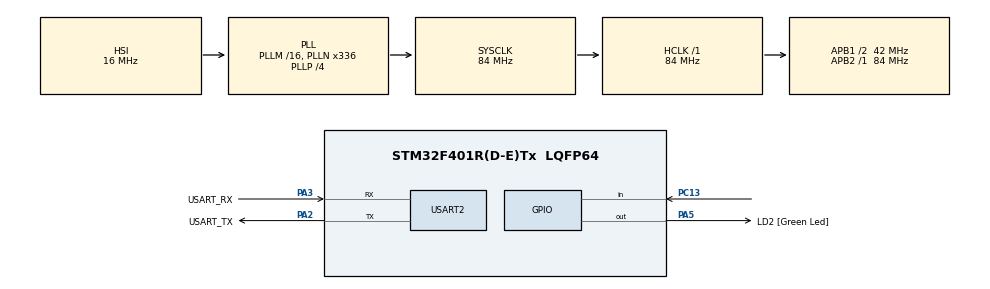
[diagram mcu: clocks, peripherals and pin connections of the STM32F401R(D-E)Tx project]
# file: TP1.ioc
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Mcu.Family=STM32F4
Mcu.Name=STM32F401R(D-E)Tx
Mcu.Package=LQFP64
NVIC.PriorityGroup=NVIC_PRIORITYGROUP_0
PA13.GPIO_Label=TMS
PA13.Mode=Serial_Wire
PA13.Signal=SYS_JTMS-SWDIO
PA14.GPIO_Label=TCK
PA14.Mode=Serial_Wire
PA14.Signal=SYS_JTCK-SWCLK
PA2.GPIO_Label=USART_TX
PA2.GPIO_Mode=GPIO_MODE_AF_PP
PA2.GPIO_PuPd=GPIO_NOPULL
PA2.GPIO_Speed=GPIO_SPEED_FREQ_LOW
PA2.Mode=Asynchronous
PA2.Signal=USART2_TX
PA3.GPIO_Label=USART_RX
PA3.GPIO_Mode=GPIO_MODE_AF_PP
PA3.GPIO_PuPd=GPIO_NOPULL
PA3.GPIO_Speed=GPIO_SPEED_FREQ_LOW
PA3.Mode=Asynchronous
PA3.Signal=USART2_RX
PA5.GPIO_Label=LD2 [Green Led]
PA5.GPIO_Mode=GPIO_MODE_OUTPUT_PP
PA5.GPIO_PuPd=GPIO_NOPULL
PA5.GPIO_Speed=GPIO_SPEED_FREQ_LOW
PA5.Signal=GPIO_Output
PB3.GPIO_Label=SWO
PB3.Signal=SYS_JTDO-SWO
PC13-ANTI_TAMP.Signal=GPIO_Input
PC14-OSC32_IN.Mode=LSE-External-Oscillator
PC14-OSC32_IN.Signal=RCC_OSC32_IN
PC15-OSC32_OUT.Mode=LSE-External-Oscillator
PC15-OSC32_OUT.Signal=RCC_OSC32_OUT
PH0\ -\ OSC_IN.Mode=HSE-External-Clock-Source
PH0\ -\ OSC_IN.Signal=RCC_OSC_IN
PH1\ -\ OSC_OUT.Mode=HSE-External-Clock-Source
PH1\ -\ OSC_OUT.Signal=RCC_OSC_OUT
ProjectManager.HeapSize=0x200
ProjectManager.StackSize=0x400
ProjectManager.TargetToolchain=STM32CubeIDE
RCC.48MHZClocksFreq_Value=48000000
RCC.AHBFreq_Value=84000000
RCC.APB1CLKDivider=RCC_HCLK_DIV2
RCC.APB1Freq_Value=42000000
RCC.APB1TimFreq_Value=84000000
RCC.APB2Freq_Value=84000000
RCC.APB2TimFreq_Value=84000000
RCC.CortexFreq_Value=84000000
RCC.HCLKFreq_Value=84000000
RCC.HSE_VALUE=8000000
RCC.HSI_VALUE=16000000
RCC.PLLN=336
RCC.PLLP=RCC_PLLP_DIV4
RCC.PLLQ=7
RCC.SYSCLKFreq_VALUE=84000000
RCC.SYSCLKSource=RCC_SYSCLKSOURCE_PLLCLK
RCC.VCOOutputFreq_Value=336000000
USART2.VirtualMode=VM_ASYNC
board=NUCLEO-F401RE

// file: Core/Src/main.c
/* USER CODE BEGIN Header */
/**
  ******************************************************************************
  * @file           : main.c
  * @brief          : Main program body
  ******************************************************************************
  * @attention
  *
  * Copyright (c) 2023 STMicroelectronics.
  * All rights reserved.
  *
  * This software is licensed under terms that can be found in the LICENSE file
  * in the root directory of this software component.
  * If no LICENSE file comes with this software, it is provided AS-IS.
  *
  ******************************************************************************
  */
/* USER CODE END Header */
#include "main.h"

UART_HandleTypeDef huart2;

void SystemClock_Config(void);
static void MX_GPIO_Init(void);
static void MX_USART2_UART_Init(void);

int main(void)
{
  /* USER CODE BEGIN 1 */

	int control = 0;

  /* USER CODE END 1 */

  /* MCU Configuration--------------------------------------------------------*/

  /* Reset of all peripherals, Initializes the Flash interface and the Systick. */
  HAL_Init();

  /* Configure the system clock */
  SystemClock_Config();

  /* Initialize all configured peripherals */
  MX_GPIO_Init();
  MX_USART2_UART_Init();

  /* Infinite loop */
  while (1)
  {

    /* USER CODE BEGIN 3 */

	int k = 0;

	// Si presiono el boton azul la variable control cambia su estado de 0 a 1 o viceversa:
	if(HAL_GPIO_ReadPin(GPIOC, GPIO_PIN_13) == GPIO_PIN_RESET)
	{
		if(control == 1)
		{
		control = 0;
		}
		else
		{
		control = 1;
		}
	}

	// Verifica el valor de la variable control y acciona el led:
	if(control == 1)
	{
		// Secuencia decreciente de tiempo de encendido

		for(int i =0; i<3; i++)
		{
			HAL_GPIO_TogglePin(LD2_GPIO_Port, LD2_Pin); // ON
			HAL_Delay(1500 - k);
			HAL_GPIO_TogglePin(LD2_GPIO_Port, LD2_Pin); // OFF
			HAL_Delay(500);

			k += 500;
		}

		HAL_Delay(2000);
	}
	else
	{
		// Secuencia creciente de tiempo de encendido

		for(int i =0; i<3; i++)
		{
			HAL_GPIO_TogglePin(LD2_GPIO_Port, LD2_Pin); // ON
			HAL_Delay(500 + k);
			HAL_GPIO_TogglePin(LD2_GPIO_Port, LD2_Pin); // OFF
			HAL_Delay(500);

			k += 500;
		}

		HAL_Delay(2000);
	};

  }
  /* USER CODE END 3 */
}

void SystemClock_Config(void)
{
  RCC_OscInitTypeDef RCC_OscInitStruct = {0};
  RCC_ClkInitTypeDef RCC_ClkInitStruct = {0};

  /** Configure the main internal regulator output voltage
  */
  __HAL_RCC_PWR_CLK_ENABLE();
  __HAL_PWR_VOLTAGESCALING_CONFIG(PWR_REGULATOR_VOLTAGE_SCALE2);

  /** Initializes the RCC Oscillators according to the specified parameters
  * in the RCC_OscInitTypeDef structure.
  */
  RCC_OscInitStruct.OscillatorType = RCC_OSCILLATORTYPE_HSI;
  RCC_OscInitStruct.HSIState = RCC_HSI_ON;
  RCC_OscInitStruct.HSICalibrationValue = RCC_HSICALIBRATION_DEFAULT;
  RCC_OscInitStruct.PLL.PLLState = RCC_PLL_ON;
  RCC_OscInitStruct.PLL.PLLSource = RCC_PLLSOURCE_HSI;
  RCC_OscInitStruct.PLL.PLLM = 16;
  RCC_OscInitStruct.PLL.PLLN = 336;
  RCC_OscInitStruct.PLL.PLLP = RCC_PLLP_DIV4;
  RCC_OscInitStruct.PLL.PLLQ = 7;
  if (HAL_RCC_OscConfig(&RCC_OscInitStruct) != HAL_OK)
  {
    Error_Handler();
  }

  /** Initializes the CPU, AHB and APB buses clocks
  */
  RCC_ClkInitStruct.ClockType = RCC_CLOCKTYPE_HCLK|RCC_CLOCKTYPE_SYSCLK
                              |RCC_CLOCKTYPE_PCLK1|RCC_CLOCKTYPE_PCLK2;
  RCC_ClkInitStruct.SYSCLKSource = RCC_SYSCLKSOURCE_PLLCLK;
  RCC_ClkInitStruct.AHBCLKDivider = RCC_SYSCLK_DIV1;
  RCC_ClkInitStruct.APB1CLKDivider = RCC_HCLK_DIV2;
  RCC_ClkInitStruct.APB2CLKDivider = RCC_HCLK_DIV1;

  if (HAL_RCC_ClockConfig(&RCC_ClkInitStruct, FLASH_LATENCY_2) != HAL_OK)
  {
    Error_Handler();
  }
}

static void MX_USART2_UART_Init(void)
{

  huart2.Instance = USART2;
  huart2.Init.BaudRate = 115200;
  huart2.Init.WordLength = UART_WORDLENGTH_8B;
  huart2.Init.StopBits = UART_STOPBITS_1;
  huart2.Init.Parity = UART_PARITY_NONE;
  huart2.Init.Mode = UART_MODE_TX_RX;
  huart2.Init.HwFlowCtl = UART_HWCONTROL_NONE;
  huart2.Init.OverSampling = UART_OVERSAMPLING_16;
  if (HAL_UART_Init(&huart2) != HAL_OK)
  {
    Error_Handler();
  }

}

static void MX_GPIO_Init(void)
{
  GPIO_InitTypeDef GPIO_InitStruct = {0};

  /* GPIO Ports Clock Enable */
  __HAL_RCC_GPIOC_CLK_ENABLE();
  __HAL_RCC_GPIOH_CLK_ENABLE();
  __HAL_RCC_GPIOA_CLK_ENABLE();
  __HAL_RCC_GPIOB_CLK_ENABLE();

  /*Configure GPIO pin Output Level */
  HAL_GPIO_WritePin(LD2_GPIO_Port, LD2_Pin, GPIO_PIN_RESET);

  /*Configure GPIO pin : PC13 */
  GPIO_InitStruct.Pin = GPIO_PIN_13;
  GPIO_InitStruct.Mode = GPIO_MODE_INPUT;
  GPIO_InitStruct.Pull = GPIO_NOPULL;
  HAL_GPIO_Init(GPIOC, &GPIO_InitStruct);

  /*Configure GPIO pin : LD2_Pin */
  GPIO_InitStruct.Pin = LD2_Pin;
  GPIO_InitStruct.Mode = GPIO_MODE_OUTPUT_PP;
  GPIO_InitStruct.Pull = GPIO_NOPULL;
  GPIO_InitStruct.Speed = GPIO_SPEED_FREQ_LOW;
  HAL_GPIO_Init(LD2_GPIO_Port, &GPIO_InitStruct);

}

void Error_Handler(void)
{
  __disable_irq();
  while (1)
  {
  }
}
